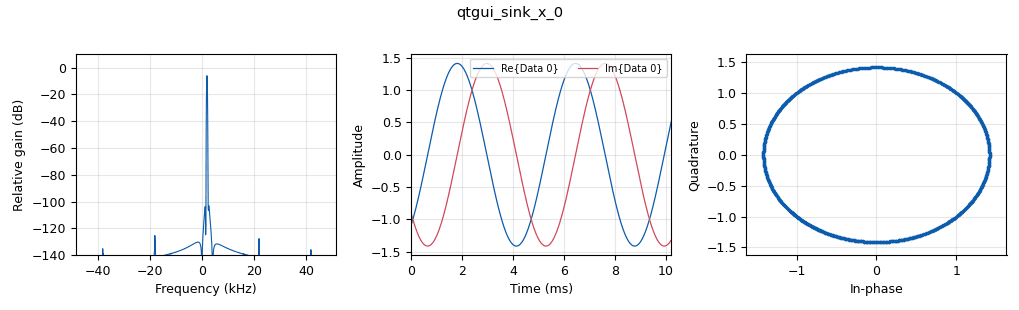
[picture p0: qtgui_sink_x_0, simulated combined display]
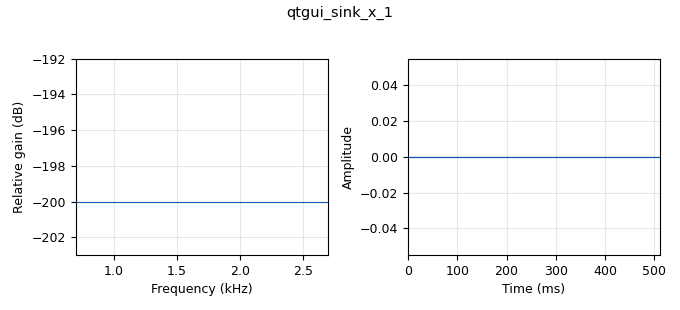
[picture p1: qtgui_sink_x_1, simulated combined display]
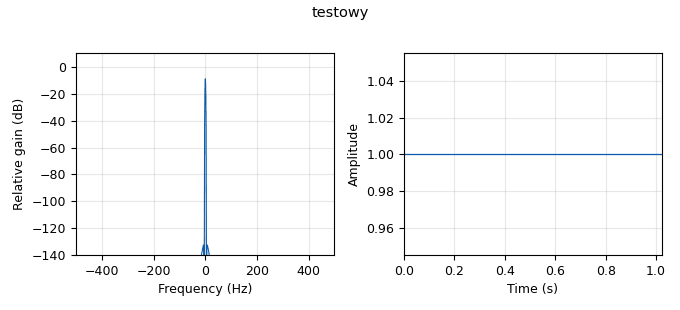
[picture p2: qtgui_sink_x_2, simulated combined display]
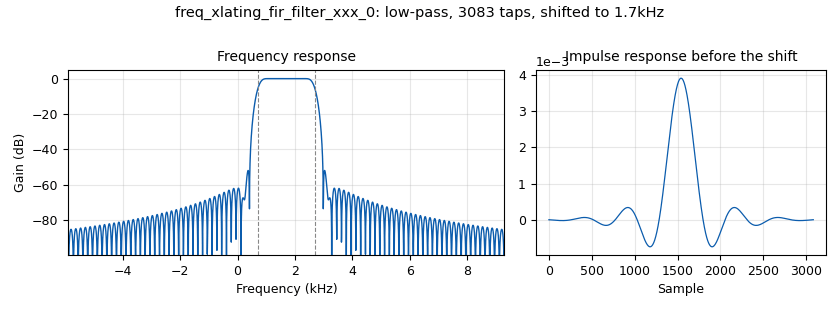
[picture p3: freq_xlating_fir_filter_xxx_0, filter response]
options:
  parameters:
    generate_options: qt_gui
    id: fsk_demod
    output_language: python
    title: fsk_mod
  states: {}

blocks:
- name: center_freq
  id: variable
  parameters:
    value: '1700'
  states: {}
- name: deviation
  id: variable
  parameters:
    value: '20000'
  states: {}
- name: samp_rate
  id: variable
  parameters:
    value: '512000'
  states: {}
- name: taps
  id: variable
  parameters:
    value: firdes.low_pass(1.0, samp_rate,1000,400)
  states: {}
- name: analog_quadrature_demod_cf_0
  id: analog_quadrature_demod_cf
  parameters:
    gain: '1'
  states: {}
- name: analog_sig_source_x_0
  id: analog_sig_source_x
  parameters:
    amp: '1'
    freq: '10'
    offset: '0'
    phase: '0'
    samp_rate: samp_rate
    type: short
    waveform: analog.GR_SQR_WAVE
  states: {}
- name: analog_sig_source_x_1
  id: analog_sig_source_x
  parameters:
    amp: '1'
    freq: '2200'
    offset: '0'
    phase: '0'
    samp_rate: samp_rate
    type: complex
    waveform: analog.GR_SIN_WAVE
  states: {}
- name: analog_sig_source_x_2
  id: analog_sig_source_x
  parameters:
    amp: '1'
    freq: '1100'
    offset: '0'
    phase: '0'
    samp_rate: samp_rate
    type: complex
    waveform: analog.GR_SIN_WAVE
  states: {}
- name: blocks_add_const_vxx_0
  id: blocks_add_const_vxx
  parameters:
    const: '2'
    type: short
  states: {}
- name: blocks_add_xx_0
  id: blocks_add_xx
  parameters:
    type: complex
  states: {}
- name: blocks_char_to_float_0
  id: blocks_char_to_float
  parameters:
    scale: '1'
  states: {}
- name: blocks_char_to_short_0
  id: blocks_char_to_short
  parameters: {}
  states: {}
- name: blocks_file_sink_0
  id: blocks_file_sink
  parameters:
    file: /root/gnuradio/fsk/modulated1
    type: complex
  states: {}
- name: blocks_file_sink_1
  id: blocks_file_sink
  parameters:
    file: /root/gnuradio/fsk/source_short
    type: short
  states: {}
- name: blocks_file_sink_2
  id: blocks_file_sink
  parameters:
    file: /root/gnuradio/fsk/demodulated
    type: short
  states: {}
- name: blocks_interleaved_short_to_complex_0
  id: blocks_interleaved_short_to_complex
  parameters:
    vector_input: 'False'
  states: {}
- name: blocks_interleaved_short_to_complex_1
  id: blocks_interleaved_short_to_complex
  parameters:
    vector_input: 'False'
  states: {}
- name: blocks_multiply_xx_0
  id: blocks_multiply_xx
  parameters:
    type: complex
  states: {}
- name: blocks_multiply_xx_1
  id: blocks_multiply_xx
  parameters:
    type: complex
  states: {}
- name: blocks_not_xx_0
  id: blocks_not_xx
  parameters:
    type: short
  states: {}
- name: blocks_short_to_float_0
  id: blocks_short_to_float
  parameters:
    scale: '1'
  states: {}
- name: blocks_throttle_0
  id: blocks_throttle
  parameters:
    samples_per_second: samp_rate
    type: short
  states: {}
- name: blocks_throttle_1
  id: blocks_throttle
  parameters:
    samples_per_second: samp_rate
    type: complex
  states: {}
- name: digital_binary_slicer_fb_0
  id: digital_binary_slicer_fb
  parameters: {}
  states: {}
- name: freq_xlating_fir_filter_xxx_0
  id: freq_xlating_fir_filter_xxx
  parameters:
    center_freq: center_freq
    decim: '1'
    samp_rate: samp_rate
    taps: taps
    type: ccc
  states: {}
- name: qtgui_sink_x_0
  id: qtgui_sink_x
  parameters:
    bw: '100000'
    fc: '1700'
    fftsize: '1024'
    type: complex
    wintype: firdes.WIN_BLACKMAN_hARRIS
  states: {}
- name: qtgui_sink_x_1
  id: qtgui_sink_x
  parameters:
    bw: '2000'
    fc: center_freq
    fftsize: '1024'
    type: float
    wintype: firdes.WIN_BLACKMAN_hARRIS
  states: {}
- name: qtgui_sink_x_2
  id: qtgui_sink_x
  parameters:
    bw: '1000'
    fc: '0'
    fftsize: '1024'
    name: testowy
    type: float
    wintype: firdes.WIN_BLACKMAN_hARRIS
  states: {}
- name: virtual_sink_0
  id: virtual_sink
  parameters:
    stream_id: fsk_mod
  states: {}
- name: virtual_source_0
  id: virtual_source
  parameters:
    stream_id: fsk_mod
  states: {}

connections:
- [analog_quadrature_demod_cf_0, '0', digital_binary_slicer_fb_0, '0']
- [analog_sig_source_x_0, '0', blocks_throttle_0, '0']
- [analog_sig_source_x_1, '0', blocks_multiply_xx_0, '1']
- [analog_sig_source_x_2, '0', blocks_multiply_xx_1, '0']
- [blocks_add_const_vxx_0, '0', blocks_interleaved_short_to_complex_0, '0']
- [blocks_add_xx_0, '0', blocks_throttle_1, '0']
- [blocks_char_to_float_0, '0', qtgui_sink_x_1, '0']
- [blocks_char_to_short_0, '0', blocks_file_sink_2, '0']
- [blocks_interleaved_short_to_complex_0, '0', blocks_multiply_xx_0, '0']
- [blocks_interleaved_short_to_complex_1, '0', blocks_multiply_xx_1, '1']
- [blocks_multiply_xx_0, '0', blocks_add_xx_0, '0']
- [blocks_multiply_xx_1, '0', blocks_add_xx_0, '1']
- [blocks_not_xx_0, '0', blocks_add_const_vxx_0, '0']
- [blocks_short_to_float_0, '0', qtgui_sink_x_2, '0']
- [blocks_throttle_0, '0', blocks_file_sink_1, '0']
- [blocks_throttle_0, '0', blocks_interleaved_short_to_complex_1, '0']
- [blocks_throttle_0, '0', blocks_not_xx_0, '0']
- [blocks_throttle_0, '0', blocks_short_to_float_0, '0']
- [blocks_throttle_1, '0', blocks_file_sink_0, '0']
- [blocks_throttle_1, '0', qtgui_sink_x_0, '0']
- [blocks_throttle_1, '0', virtual_sink_0, '0']
- [digital_binary_slicer_fb_0, '0', blocks_char_to_float_0, '0']
- [digital_binary_slicer_fb_0, '0', blocks_char_to_short_0, '0']
- [freq_xlating_fir_filter_xxx_0, '0', analog_quadrature_demod_cf_0, '0']
- [qtgui_sink_x_0, freq, qtgui_sink_x_0, freq]
- [virtual_source_0, '0', freq_xlating_fir_filter_xxx_0, '0']

metadata:
  file_format: 1
